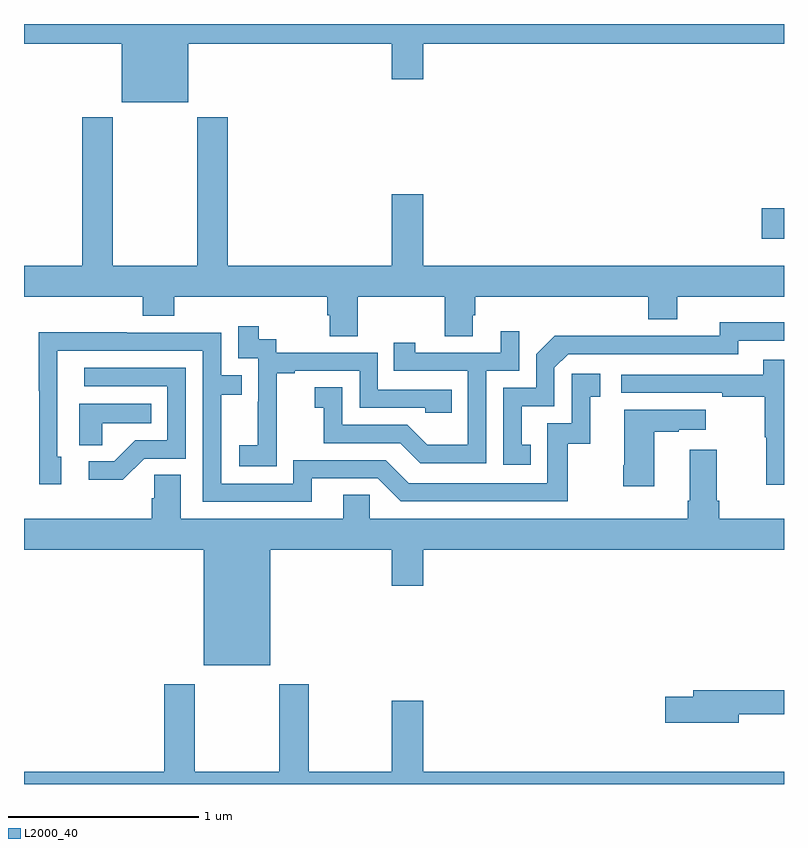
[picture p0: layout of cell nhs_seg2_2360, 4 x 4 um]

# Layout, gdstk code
import gdstk
lib = gdstk.Library(unit=1e-6, precision=1e-09)
def R(c, l, rs):  # rectangles x0, y0, x1, y1
    for r in rs: c.add(gdstk.rectangle(r[:2], r[2:], *l))
def P(c, l, *ps):  # polygons
    for p in ps: c.add(gdstk.Polygon(p, *l))
L2000_40 = (2000, 40)

nhs_seg2_2360 = lib.new_cell('nhs_seg2_2360')
R(nhs_seg2_2360, L2000_40, [(238.884,586.67,239,586.83)])
P(nhs_seg2_2360, L2000_40, [(235.864,587.696),(236.936,587.696),(236.936,587.508),(237.1,587.508),(237.1,587.696),(239,587.696),(239,587.8),(235,587.8),(235,587.696),(235.514,587.696),(235.514,587.387),(235.864,587.387)],
  [(236.757,586.364),(237.214,586.364),(237.214,586.156),(237.361,586.156),(237.361,586.266),(237.374,586.266),(237.374,586.364),(238.286,586.364),(238.286,586.247),(238.438,586.247),(238.438,586.364),(239,586.364),(239,586.528),(237.1,586.528),(237.1,586.903),(236.936,586.903),(236.936,586.528),(236.072,586.528),(236.072,587.308),(235.912,587.308),(235.912,586.528),(235.467,586.528),(235.467,587.308),(235.307,587.308),(235.307,586.528),(235,586.528),(235,586.364),(235.625,586.364),(235.625,586.265),(235.79,586.265),(235.79,586.364),(236.597,586.364),(236.597,586.266),(236.609,586.266),(236.609,586.156),(236.757,586.156)],
  [(237.668,585.585),(237.619,585.585),(237.619,585.789),(237.792,585.789),(237.792,585.99),(237.864,586.062),(238.758,586.062),(238.758,586.134),(239,586.134),(239,586.231),(238.662,586.231),(238.662,586.158),(238.202,586.158),(238.202,586.16),(237.794,586.16),(237.696,586.062),(237.696,585.885),(237.522,585.885),(237.522,585.48),(237.668,585.48)],
  [(236.331,585.679),(236.33,585.679),(236.33,585.963),(236.425,585.963),(236.425,585.975),(236.766,585.975),(236.766,585.78),(237.111,585.78),(237.111,585.753),(237.251,585.753),(237.251,585.876),(236.862,585.876),(236.862,586.071),(236.328,586.071),(236.328,586.14),(236.236,586.14),(236.236,586.21),(236.127,586.21),(236.127,586.041),(236.232,586.041),(236.232,585.812),(236.231,585.812),(236.231,585.583),(236.133,585.583),(236.133,585.473),(236.331,585.473)],
  [(237.432,585.975),(237.606,585.975),(237.606,586.183),(237.509,586.183),(237.509,586.071),(237.058,586.071),(237.058,586.123),(236.947,586.123),(236.947,585.975),(237.336,585.975),(237.336,585.586),(237.122,585.586),(237.018,585.69),(236.676,585.69),(236.676,585.889),(236.529,585.889),(236.529,585.779),(236.578,585.779),(236.578,585.594),(236.981,585.594),(237.086,585.489),(237.432,585.489)],
  [(236.515,585.408),(236.862,585.408),(236.982,585.288),(237.862,585.288),(237.862,585.591),(237.98,585.591),(237.98,585.837),(238.033,585.837),(238.033,585.958),(237.882,585.958),(237.882,585.699),(237.753,585.699),(237.753,585.384),(237.024,585.384),(236.904,585.504),(236.418,585.504),(236.418,585.381),(236.037,585.381),(236.037,585.85),(236.147,585.85),(236.147,585.951),(236.037,585.951),(236.037,586.176),(235.541,586.176),(235.541,586.178),(235.078,586.178),(235.078,585.871),(235.08,585.871),(235.08,585.378),(235.195,585.378),(235.195,585.522),(235.176,585.522),(235.176,586.08),(235.941,586.08),(235.941,585.285),(236.515,585.285)],
  [(239,586.033),(238.891,586.033),(238.891,585.954),(238.143,585.954),(238.143,585.858),(238.675,585.858),(238.675,585.838),(238.899,585.838),(238.899,585.624),(238.906,585.624),(238.906,585.375),(239,585.375)],
  [(235.632,585.513),(235.851,585.513),(235.851,585.99),(235.317,585.99),(235.317,585.894),(235.755,585.894),(235.755,585.609),(235.586,585.609),(235.475,585.498),(235.341,585.498),(235.341,585.401),(235.519,585.401)],
  [(235.413,585.698),(235.67,585.698),(235.67,585.802),(235.292,585.802),(235.292,585.583),(235.413,585.583)],
  [(238.318,585.655),(238.445,585.655),(238.445,585.665),(238.588,585.665),(238.588,585.769),(238.16,585.769),(238.16,585.478),(238.153,585.478),(238.153,585.366),(238.318,585.366)],
  [(235.825,585.428),(235.686,585.428),(235.686,585.305),(235.673,585.305),(235.673,585.196),(235,585.196),(235,585.032),(235.946,585.032),(235.946,584.426),(236.296,584.426),(236.296,585.032),(236.936,585.032),(236.936,584.844),(237.1,584.844),(237.1,585.032),(239,585.032),(239,585.196),(238.658,585.196),(238.658,585.292),(238.645,585.292),(238.645,585.559),(238.505,585.559),(238.505,585.292),(238.493,585.292),(238.493,585.196),(236.82,585.196),(236.82,585.323),(236.681,585.323),(236.681,585.196),(235.825,585.196)],
  [(239,583.864),(237.1,583.864),(237.1,584.239),(236.936,584.239),(236.936,583.864),(236.499,583.864),(236.499,584.326),(236.344,584.326),(236.344,583.864),(235.899,583.864),(235.899,584.326),(235.739,584.326),(235.739,583.864),(235,583.864),(235,583.8),(239,583.8)],
  [(238.762,584.166),(239,584.166),(239,584.294),(238.523,584.294),(238.523,584.258),(238.374,584.258),(238.374,584.123),(238.762,584.123)])

lib.write_gds('nhs_seg2_2360.gds')
